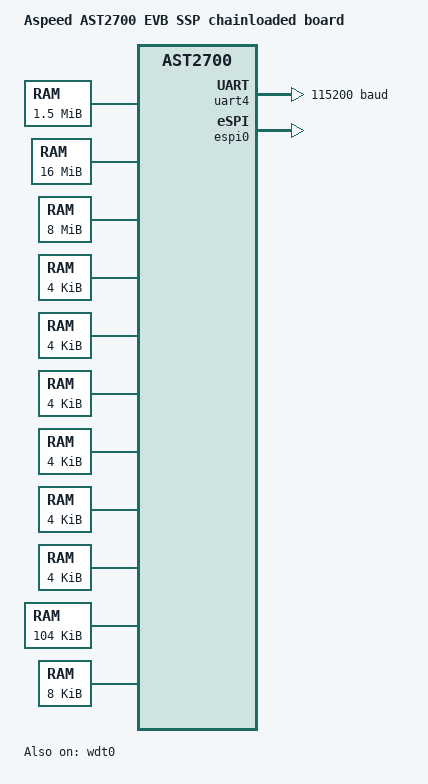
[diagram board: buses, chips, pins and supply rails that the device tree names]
/*
 * Copyright (c) 2026 ASPEED Technology Inc.
 *
 * SPDX-License-Identifier: Apache-2.0
 */

/dts-v1/;
#include <aspeed/ast27xx_ssp.dtsi>

/ {
	model = "Aspeed AST2700 EVB SSP chainloaded board";
	compatible = "aspeed,ast2700-evb-ssp-cl";

	chosen {
		zephyr,console = &uart4;
		zephyr,shell-uart = &uart4;
		zephyr,flash = &dram_ro_region;
		zephyr,sram = &dram_rw_region;
		zephyr,entropy = &rng;
		zephyr,custom-stack = &tcm;
		zephyr,cached-memory = &dram_c_region;
	};

	/*
	 * mcuboot occupies DRAM virtual 0x0 - 0x7FFFF (512KB).
	 * This board's firmware is loaded by mcuboot at 0x80000.
	 */
	dram_rw_region: memory@100000 {
		device_type = "memory";
		reg = <0x100000 DT_SIZE_K(1536)>;
	};

	/* non-cached DMA memory */
	dram_nc_region: memory@1000000 {
		compatible = "zephyr,memory-region";
		device_type = "memory";
		reg = <0x1000000 DT_SIZE_K(16384)>;
		zephyr,memory-region = "RAM_NC";
	};

	dram_c_region: memory@5080000 {
		device_type = "memory";
		reg = <0x5080000 DT_SIZE_K(8192)>;
	};

	ipc_s_ca35_data: memory@70000000 {
		compatible = "zephyr,memory-region";
		device_type = "memory";
		reg = <0x70000000 DT_SIZE_K(4)>;
		zephyr,memory-region = "IPC_SHARE_MEM_LOCAL_S_CA35_DATA";
	};

	ipc_ns_ca35_data: memory@70001000 {
		compatible = "zephyr,memory-region";
		device_type = "memory";
		reg = <0x70001000 DT_SIZE_K(4)>;
		zephyr,memory-region = "IPC_SHARE_MEM_LOCAL_NS_CA35_DATA";
	};

	ipc_bootmcu_ro_data: memory@70002000 {
		compatible = "zephyr,memory-region";
		device_type = "memory";
		reg = <0x70002000 DT_SIZE_K(4)>;
		zephyr,memory-region = "IPC_SHARE_MEM_REMOTE_BOOTMCU_DATA";
	};

	ipc_bootmcu_ro_caliptra: memory@70003000 {
		compatible = "zephyr,memory-region";
		device_type = "memory";
		reg = <0x70003000 DT_SIZE_K(4)>;
		zephyr,memory-region = "IPC_SHARE_MEM_REMOTE_BOOTMCU_CALIPTRA";
	};

	ipc_bootmcu_data: memory@70004000 {
		compatible = "zephyr,memory-region";
		device_type = "memory";
		reg = <0x70004000 DT_SIZE_K(4)>;
		zephyr,memory-region = "IPC_SHARE_MEM_LOCAL_BOOTMCU_DATA";
	};

	ipc_bootmcu_caliptra: memory@70005000 {
		compatible = "zephyr,memory-region";
		device_type = "memory";
		reg = <0x70005000 DT_SIZE_K(4)>;
		zephyr,memory-region = "IPC_SHARE_MEM_LOCAL_BOOTMCU_CALIPTRA";
	};

	sram: memory@70006000 {
		device_type = "memory";
		reg = <0x70006000 DT_SIZE_K(104)>;
	};

	tcm: memory@1fffe000 {
		compatible = "zephyr,memory-region";
		reg = <0x1fffe000 0x00002000>;
		zephyr,memory-region = "CUSTOM_STACK";
	};
};

/* firmware .text/.rodata loaded by mcuboot at 0x80000 */
&dram_ro_region {
	reg = <0x80000 DT_SIZE_K(512)>;
};

&uart4 {
	clock-frequency = <1846153>;
	current-speed = <115200>;
	status = "okay";
};

&wdt0 {
	status = "okay";
};

&ipc0_s_ca35 {
	status = "okay";
	shmem_ch0 = <0x70000000 0x5080000 0x1000 0x200000>;
};

&ipc0_ns_ca35 {
	status = "okay";
	shmem_ch0 = <0x70001000 0x5480000 0x1000 0x200000>;
};

&ipc0_tsp {
	status = "okay";
};

&ipc1_bootmcu {
	status = "okay";
	shmem_ch0 = <0x70002000 0x70003000 0x1000 0x1000>;
	shmem_ch1 = <0x70004000 0x70005000 0x1000 0x1000>;
};

&intc_global {
	status = "okay";
};

&intc1_global {
	status = "okay";
};

&intc0_11 {
	status = "okay";
};

&intc1_0 {
	status = "okay";
};

&intc1_1 {
	status = "okay";
};

&intc1_2 {
	status = "okay";
};

&intc1_3 {
	status = "okay";
};

&intc1_4 {
	status = "okay";
};

&intc1_5 {
	status = "okay";
};

&espi0 {
	status = "okay";
	flash-edaf-mode = <0x0>;
	flash-dma-mode;
	flash-edaf-tgt-addr = <0x4 0x31000000>;
};
